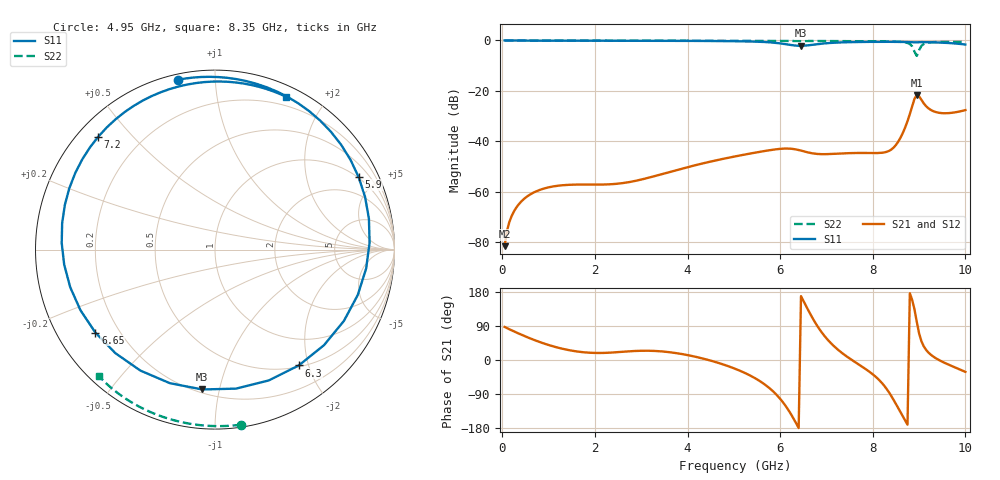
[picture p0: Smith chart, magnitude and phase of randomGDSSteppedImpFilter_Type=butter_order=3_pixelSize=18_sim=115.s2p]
! freq	dB(S11)	phase(S11)	dB(S12)	phase(S12)
!  dB(S21)	phase(S21)	dB(S22)	phase(S22)
!S-par simulation data
#  GHz  S  DB  R 50
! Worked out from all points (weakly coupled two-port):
!   200 points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, 50 MHz to 10 GHz, reference 50 ohm
!   highest |S21| = -21.60 dB at 8.95 GHz (marker M1); lowest = -81.6 dB at 50 MHz (marker M2)
!   lowest |S11| = -2.1 dB at 6.45 GHz (marker M3), VSWR 8.20, Z = 11.1 - j44.4 ohm
!   |S11| at or under -10 dB: nowhere
!   |S22| runs from -6.1 to 0.0 dB; largest |S21 - S12| = 0
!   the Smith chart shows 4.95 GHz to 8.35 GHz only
!   S11 on the Smith chart (normalised r, x): 4.95 GHz: 0.03, +0.81; 5.9 GHz: 0.96, +3.98; 6.3 GHz: 0.52, -1.84; 6.65 GHz: 0.11, -0.31; 7.2 GHz: 0.06, +0.40; 8.35 GHz: 0.11, +1.56
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0.05  -0.00 -5.0  -81.64 87.3  -81.64 87.3  -0.00 -0.9
0.25  -0.04 -24.4  -67.88 75.6  -67.88 75.6  -0.01 -4.4
0.55  -0.07 -51.9  -61.73 59.6  -61.73 59.6  -0.01 -9.6
1.05  -0.10 -91.1  -58.09 37.7  -58.09 37.7  -0.02 -18.3
1.75  -0.11 -132.2  -57.18 20.5  -57.18 20.5  -0.04 -30.3
3.4  -0.14 162.3  -53.28 23.1  -53.28 23.1  -0.08 -57.5
4.95  -0.28 102.3  -46.29 -19.5  -46.29 -19.5  -0.12 -81.5
5.05  -0.30 97.2  -45.93 -24.2  -45.93 -24.2  -0.13 -83.0
5.55  -0.52 64.6  -44.23 -54.8  -44.23 -54.8  -0.15 -90.4
5.9  -0.95 26.8  -43.22 -89.1  -43.22 -89.1  -0.16 -95.5
6.1  -1.43 -7.1  -42.90 -118.1  -42.90 -118.1  -0.18 -98.4
6.3  -1.98 -54.1  -43.11 -156.9  -43.11 -156.9  -0.19 -101.3
6.45  -2.13 -95.2  -43.70 168.5  -43.70 168.5  -0.19 -103.4
6.65  -1.82 -145.3  -44.63 121.5  -44.63 121.5  -0.21 -106.3
6.7  -1.70 -155.8  -44.81 110.5  -44.81 110.5  -0.21 -107.0
7.2  -0.87 136.0  -44.96 32.2  -44.96 32.2  -0.24 -114.3
7.7  -0.61 99.6  -44.64 -12.0  -44.64 -12.0  -0.29 -121.7
8.35  -0.54 65.0  -43.84 -85.3  -43.84 -85.3  -0.39 -132.7
8.8  -0.65 43.1  -29.23 176.1  -29.23 176.1  -1.42 -149.3
8.95  -0.74 36.6  -21.60 100.9  -21.60 100.9  -6.13 -133.3
9.1  -0.66 29.0  -24.96 36.3  -24.96 36.3  -1.41 -124.7
10  -1.63 -27.4  -27.62 -31.4  -27.62 -31.4  -0.55 -148.1
